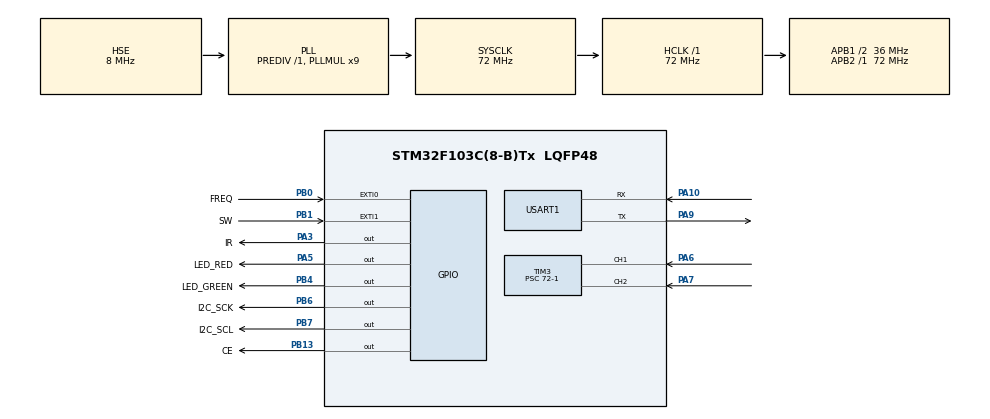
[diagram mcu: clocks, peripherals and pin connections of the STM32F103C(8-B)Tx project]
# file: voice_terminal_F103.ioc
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Mcu.Family=STM32F1
Mcu.Name=STM32F103C(8-B)Tx
Mcu.Package=LQFP48
NVIC.EXTI0_IRQn=true\:0\:0\:false\:false\:true\:true\:true\:true
NVIC.EXTI1_IRQn=true\:0\:0\:false\:false\:true\:true\:true\:true
NVIC.PriorityGroup=NVIC_PRIORITYGROUP_4
NVIC.TIM1_UP_IRQn=true\:0\:0\:false\:false\:true\:true\:true\:true
NVIC.TIM3_IRQn=true\:2\:0\:true\:false\:true\:true\:true\:true
NVIC.TIM4_IRQn=true\:1\:0\:true\:false\:true\:true\:true\:true
PA10.Mode=Asynchronous
PA10.Signal=USART1_RX
PA13.Mode=Serial_Wire
PA13.Signal=SYS_JTMS-SWDIO
PA14.Mode=Serial_Wire
PA14.Signal=SYS_JTCK-SWCLK
PA3.GPIO_Label=IR
PA3.GPIO_Speed=GPIO_SPEED_FREQ_MEDIUM
PA3.Signal=GPIO_Output
PA5.GPIO_Label=LED_RED
PA5.PinState=GPIO_PIN_RESET
PA5.Signal=GPIO_Output
PA6.Signal=S_TIM3_CH1
PA7.Signal=S_TIM3_CH2
PA9.Mode=Asynchronous
PA9.Signal=USART1_TX
PB0.GPIO_Label=FREQ
PB0.GPIO_ModeDefaultEXTI=GPIO_MODE_IT_RISING_FALLING
PB0.GPIO_PuPd=GPIO_PULLUP
PB0.Signal=GPXTI0
PB1.GPIO_Label=SW
PB1.GPIO_ModeDefaultEXTI=GPIO_MODE_IT_RISING_FALLING
PB1.GPIO_PuPd=GPIO_PULLUP
PB1.Signal=GPXTI1
PB13.GPIO_Label=CE
PB13.PinState=GPIO_PIN_SET
PB13.Signal=GPIO_Output
PB4.GPIO_Label=LED_GREEN
PB4.PinState=GPIO_PIN_SET
PB4.Signal=GPIO_Output
PB6.GPIO_Label=I2C_SCK
PB6.GPIO_ModeDefaultOutputPP=GPIO_MODE_OUTPUT_OD
PB6.GPIO_PuPd=GPIO_NOPULL
PB6.GPIO_Speed=GPIO_SPEED_FREQ_HIGH
PB6.Signal=GPIO_Output
PB7.GPIO_Label=I2C_SCL
PB7.GPIO_ModeDefaultOutputPP=GPIO_MODE_OUTPUT_OD
PB7.GPIO_PuPd=GPIO_NOPULL
PB7.GPIO_Speed=GPIO_SPEED_FREQ_HIGH
PB7.Signal=GPIO_Output
PD0-OSC_IN.Mode=HSE-External-Oscillator
PD0-OSC_IN.Signal=RCC_OSC_IN
PD1-OSC_OUT.Mode=HSE-External-Oscillator
PD1-OSC_OUT.Signal=RCC_OSC_OUT
ProjectManager.HeapSize=0x200
ProjectManager.StackSize=0x400
ProjectManager.TargetToolchain=Makefile
RCC.AHBFreq_Value=72000000
RCC.APB1CLKDivider=RCC_HCLK_DIV2
RCC.APB1Freq_Value=36000000
RCC.APB1TimFreq_Value=72000000
RCC.APB2Freq_Value=72000000
RCC.APB2TimFreq_Value=72000000
RCC.HCLKFreq_Value=72000000
RCC.PLLMUL=RCC_PLL_MUL9
RCC.PLLSourceVirtual=RCC_PLLSOURCE_HSE
RCC.SYSCLKFreq_VALUE=72000000
RCC.SYSCLKSource=RCC_SYSCLKSOURCE_PLLCLK
RCC.USBFreq_Value=72000000
SH.S_TIM3_CH1.0=TIM3_CH1,Input_Capture1_from_TI1
SH.S_TIM3_CH2.0=TIM3_CH2,Input_Capture2_from_TI2
TIM1.AutoReloadPreload=TIM_AUTORELOAD_PRELOAD_ENABLE
TIM1.Period=12
TIM1.Prescaler=72
TIM2.AutoReloadPreload=TIM_AUTORELOAD_PRELOAD_DISABLE
TIM2.Prescaler=72-1
TIM3.Channel-Input_Capture1_from_TI1=TIM_CHANNEL_1
TIM3.Channel-Input_Capture2_from_TI2=TIM_CHANNEL_2
TIM3.ICFilter_CH1=0x03
TIM3.ICFilter_CH2=0x03
TIM3.Period=6000-1
TIM3.Prescaler=72-1
TIM4.Period=1000-1
TIM4.Prescaler=7200-1
USART1.VirtualMode=VM_ASYNC
VP_TIM1_VS_ClockSourceINT.Mode=Internal
VP_TIM2_VS_ClockSourceINT.Mode=Internal
VP_TIM3_VS_ClockSourceINT.Mode=Internal
VP_TIM4_VS_ClockSourceINT.Mode=Internal
board=custom

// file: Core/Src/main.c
/* USER CODE BEGIN Header */
/**
 ******************************************************************************
 * @file           : main.c
 * @brief          : Main program body
 ******************************************************************************
 * @attention
 *
 * Copyright (c) 2023 STMicroelectronics.
 * All rights reserved.
 *
 * This software is licensed under terms that can be found in the LICENSE file
 * in the root directory of this software component.
 * If no LICENSE file comes with this software, it is provided AS-IS.
 *
 ******************************************************************************
 */
/* USER CODE END Header */
#include "main.h"
#include "tim.h"
#include "usart.h"
#include "gpio.h"

/* USER CODE BEGIN Includes */
#include "bk9535.h"
#include "syscall.h"
#include "key.h"
// #include "bsp_irda.h"
#include "config.h"
#include "irda.h"
#include "irtx.h"
#include "stmflash.h"
/* USER CODE END Includes */

/* USER CODE BEGIN PV */
vu32 time_delay;
uint16_t param_inFlash = 0; // 低8位本机频点，高8位本机ID
uint8_t local_id = 0;
/* USER CODE END PV */

void SystemClock_Config(void);

/* USER CODE BEGIN 0 */
const uint8_t LOCAL_ID[16] = {
    0x10,
    0x11,
    0x12,
    0x13,
    0x14,
    0x15,
    0x16,
    0x17,
    0x18,
    0x19,
    0x20,
    0x21,
    0x22,
    0x23,
    0x24,
    0x25};
/* USER CODE END 0 */

int main(void)
{
  /* USER CODE BEGIN 1 */
  // USER_DATA.rUserFreqIndex = DEFAULT_FREQ;
  USER_DATA.UserId.dword = DEF_USER_ID;
  /* USER CODE END 1 */

  /* MCU Configuration--------------------------------------------------------*/

  /* Reset of all peripherals, Initializes the Flash interface and the Systick. */
  HAL_Init();

  /* Configure the system clock */
  SystemClock_Config();

  /* Initialize all configured peripherals */
  MX_GPIO_Init();
  MX_USART1_UART_Init();
  MX_TIM3_Init();
  MX_TIM4_Init();
  MX_TIM2_Init();
  MX_TIM1_Init();
  /* USER CODE BEGIN 2 */
  // IIC_Init();
  HAL_TIM_Base_Start_IT(&htim3);
  KEY_Config();
  HAL_Delay(100);
  // stmflash_write(FLASH_SAVE_ADDR, &param_inFlash, 2);
  stmflash_read(FLASH_SAVE_ADDR, &param_inFlash, 2);
  USER_DATA.rUserFreqIndex = param_inFlash & 0xff;
  local_id = (uint8_t)param_inFlash >> 8;

  rWorkChannel = CHA;
  if (BK_Init())
    Flash_LED(LED_GREEN, 50, 5, LIGHT_ON);

  t_PCMCfg cfg;
  cfg.bclk = PCM_SCK_I;
  cfg.dat = PCM_SDA_I;
  cfg.ch = RIGHT_CHANNEL;
  cfg.mode = PCM_SLAVE;
  cfg.lrck = PCM_LRCK_I;
  BK_Tx_I2SOpen(cfg);
  SwitchFreqByIndex(USER_DATA.rUserFreqIndex);
  // TX_TuneFreq(648100);
  TX_WriteID(USER_DATA.UserId.dword);

  /* USER CODE END 2 */

  /* Infinite loop */
  while (1)
  {

    /* USER CODE BEGIN 3 */
    static uint8_t interval = 0;
    delay_nms(50);
    KEY_Scan();

    if (interval > 20)
    {
      IR_PostData(0x02);
      interval = 0;
    }
    // HAL_GPIO_WritePin(IR_GPIO_Port, IR_Pin, SET);
    if (remote_scan() == 0x02)
      Flash_LED(LED_RED, 50, 1, FOLLOW_PREVIOUS);
    // TX_Prevent_RF_UnLock();
    interval++;
  }
  /* USER CODE END 3 */
}

void SystemClock_Config(void)
{
  RCC_OscInitTypeDef RCC_OscInitStruct = {0};
  RCC_ClkInitTypeDef RCC_ClkInitStruct = {0};

  /** Initializes the RCC Oscillators according to the specified parameters
   * in the RCC_OscInitTypeDef structure.
   */
  RCC_OscInitStruct.OscillatorType = RCC_OSCILLATORTYPE_HSE;
  RCC_OscInitStruct.HSEState = RCC_HSE_ON;
  RCC_OscInitStruct.HSEPredivValue = RCC_HSE_PREDIV_DIV1;
  RCC_OscInitStruct.HSIState = RCC_HSI_ON;
  RCC_OscInitStruct.PLL.PLLState = RCC_PLL_ON;
  RCC_OscInitStruct.PLL.PLLSource = RCC_PLLSOURCE_HSE;
  RCC_OscInitStruct.PLL.PLLMUL = RCC_PLL_MUL9;
  if (HAL_RCC_OscConfig(&RCC_OscInitStruct) != HAL_OK)
  {
    Error_Handler();
  }

  /** Initializes the CPU, AHB and APB buses clocks
   */
  RCC_ClkInitStruct.ClockType = RCC_CLOCKTYPE_HCLK | RCC_CLOCKTYPE_SYSCLK | RCC_CLOCKTYPE_PCLK1 | RCC_CLOCKTYPE_PCLK2;
  RCC_ClkInitStruct.SYSCLKSource = RCC_SYSCLKSOURCE_PLLCLK;
  RCC_ClkInitStruct.AHBCLKDivider = RCC_SYSCLK_DIV1;
  RCC_ClkInitStruct.APB1CLKDivider = RCC_HCLK_DIV2;
  RCC_ClkInitStruct.APB2CLKDivider = RCC_HCLK_DIV1;

  if (HAL_RCC_ClockConfig(&RCC_ClkInitStruct, FLASH_LATENCY_2) != HAL_OK)
  {
    Error_Handler();
  }
}

/* USER CODE BEGIN 4 */
void Init_Param(void)
{
  param_inFlash = 0;
  param_inFlash <<= 8;
  param_inFlash |= (uint8_t)DEFAULT_FREQ;
  stmflash_write(FLASH_SAVE_ADDR, &param_inFlash, 2);
}
/* USER CODE END 4 */

void Error_Handler(void)
{
  __disable_irq();
  while (1)
  {
  }
}
